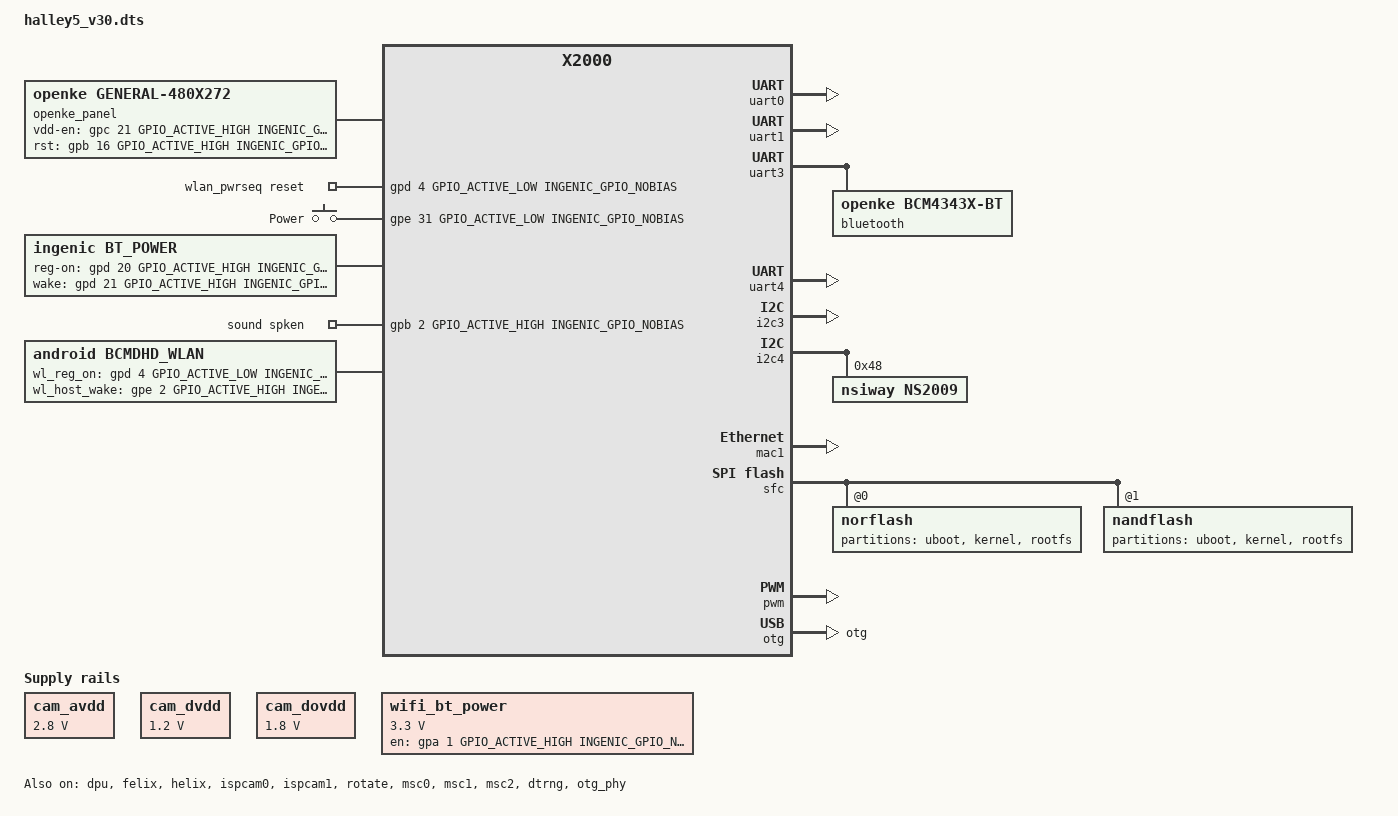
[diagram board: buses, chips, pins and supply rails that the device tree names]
/dts-v1/;

#include <dt-bindings/input/input.h>
#include "x2000.dtsi"
#include <dt-bindings/interrupt-controller/irq.h>
#include <generated/autoconf.h>

#ifdef  CONFIG_RD_X2000_HALLEY5_CAMERA_2V1
#include "halley5_cameras/RD_X2000_HALLEY5_CAMERA_2V1.dtsi"
#elif CONFIG_RD_X2000_HALLEY5_CAMERA_3V2
#ifdef CONFIG_OV4689_1080P_120FPS
#include "halley5_cameras/RD_X2000_HALLEY5_CAMERA_3V2_4LANE.dtsi"
#else
#include "halley5_cameras/RD_X2000_HALLEY5_CAMERA_3V2.dtsi"
#endif
#elif CONFIG_RD_X2000_HALLEY5_CAMERA_4V2
#include "halley5_cameras/RD_X2000_HALLEY5_CAMERA_4V2.dtsi"
#elif CONFIG_RD_X2000_HALLEY5_CAMERA_4V3
#include "halley5_cameras/RD_X2000_HALLEY5_CAMERA_4V3.dtsi"
#elif CONFIG_RD_X2000_HALLEY5_CAMERA_5V0
#include "halley5_cameras/RD_X2000_HALLEY5_CAMERA_5V0.dtsi"
#elif CONFIG_RD_X2000_HALLEY5_CAMERA_6V0
#include "halley5_cameras/RD_X2000_HALLEY5_CAMERA_6V0.dtsi"
#elif CONFIG_RD_X2000_HALLEY5_CAMERA_7V0
#include "halley5_cameras/RD_X2000_HALLEY5_CAMERA_7V0.dtsi"
#elif CONFIG_RD_X2000_HALLEY5_CAMERA_CIM
#include "halley5_cameras/RD_X2000_HALLEY5_CAMERA_cim.dtsi"
#elif CONFIG_HALLEY5_CAMERA_BOARDS_AUTO_MATCH
#include "halley5_cameras/X2000_HALLEY5_CAMERA.dtsi"
#endif

#ifdef CONFIG_STAGE_FW050
#include "halley5_lcd/HALLEY5_MIPI_LCD_FW050.dtsi"
#endif
#ifdef CONFIG_STAGE_ZC50289HSHD02
#include "halley5_lcd/HALLEY5_MIPI_LCD_ZC50289HSHD02.dtsi"
#endif

/ {
	compatible = "ingenic,halley5", "ingenic,x2000";

	/*chosen {
		bootargs = "console=ttyS1,115200 mem=128M@0x0 ip=off init=/linuxrc ubi.mtd=3 root=ubi0:rootfs ubi.mtd=4 rootfstype=ubifs rw";
	};*/

	reserved-memory {
		#address-cells = <1>;
		#size-cells = <1>;
		ranges =<>;

		reserved_memory: reserved_mem@6000000{
		      compatible = "shared-dma-pool";
		      reg-64M = <0x03000000 0x1000000>;
		      reg-128M = <0x06000000 0x2000000>;
		      reg-256M = <0x0e000000 0x2000000>;
		};
	};

		  cam_avdd: cam_regulator_avdd {
			  compatible = "regulator-fixed";
			  regulator-name = "cam_avdd";
			  regulator-min-microvolt = <2800000>;
			  regulator-max-microvolt = <2800000>;
			  regulator-always-on;
			  regulator-boot-on;
		  };
		  cam_dvdd: cam_regulator_dvdd {
			  compatible = "regulator-fixed";
			  regulator-name = "cam_dvdd";
			  regulator-min-microvolt = <1200000>;
			  regulator-max-microvolt = <1200000>;
			  regulator-always-on;
			  regulator-boot-on;
		  };
		  cam_dovdd: cam_regulator_dovdd {
			   compatible = "regulator-fixed";
			   regulator-name = "cam_dovdd";
			   regulator-min-microvolt = <1800000>;
			   regulator-max-microvolt = <1800000>;
			   regulator-always-on;
			   regulator-boot-on;
		  };

		  /* OpenKE (2026-07-22, FIRMWARE.md sec 44): 3 real GPIO-based fixes in a row
		   * (wrong pin -> wrong polarity -> pin stolen by uart4's over-wide mux group)
		   * all left "mmc1: Failed to initialize a non-removable card" byte-identical -
		   * the card never responds at all, at any frequency. Reconsidered the model
		   * itself rather than tuning gpio values further: PA01 (wifi_power_on) is a
		   * shared COMBO-CHIP POWER RAIL per stock's own insmod scripts (soc_msc.sh/
		   * cywdhd.sh - same gpio referenced by both the mmc host module AND the
		   * separate wlan chip module), not a per-card reset/wake line the way gpd4
		   * (WL_REG_ON) is. mmc-pwrseq-simple's reset-gpios models ONE reset concept
		   * toggled as a single unit with one shared delay - it can't express "this
		   * rail needs its own independent ramp-up window before the reset line even
		   * starts toggling". Modeled as its own regulator instead, wired as msc1's
		   * vmmc-supply - a real, actively-checked property in this exact driver
		   * (confirmed: ingenic,sdhci already prints "No vmmc regulator found" when
		   * absent, meaning mmc_regulator_get_supply() is real and already wired into
		   * this SDHCI-ingenic build, not hypothetical). regulator-always-on +
		   * -boot-on (same pattern already used by cam_avdd/cam_dvdd/cam_dovdd above)
		   * gets this GPIO driven to its enabled state at the regulator subsystem's
		   * own early probe, well before mmc1 ever probes - decoupled from pwrseq's
		   * post_power_on delay entirely, since a shared rail's real settling time has
		   * nothing to do with any individual card's reset sequencing. */
		  wifi_bt_power: wifi_bt_power_regulator {
			   compatible = "regulator-fixed";
			   regulator-name = "wifi_bt_power";
			   regulator-min-microvolt = <3300000>;
			   regulator-max-microvolt = <3300000>;
			   gpio = <&gpa 1 GPIO_ACTIVE_HIGH INGENIC_GPIO_NOBIAS>;
			   enable-active-high;
			   regulator-always-on;
			   regulator-boot-on;
		  };
};

&uart0 {
	status = "okay";
	pinctrl-names = "default";
	pinctrl-0 = <&uart0_pd>;
};

/* OpenKE (2026-07-21, FIRMWARE.md sec 43): real, confirmed gap - this board file never
 * referenced &uart1 at all, unlike every other uart actually in use here. Klipper's own
 * printer.cfg confirms /dev/ttyS1 is the real serial link to the printer's mainboard MCU
 * ([mcu] serial:/dev/ttyS1, vendor/device-backups/printer_data_config/printer.cfg) - the
 * base x2000.dtsi leaves uart1 with no explicit status property at all (defaults to
 * enabled per devicetree spec), but without this pinctrl assignment the physical TX/RX
 * pins were never actually muxed to the UART1 function, only the controller itself being
 * nominally "on". Only one real pin group exists for this uart (unlike uart3's 2-pin/
 * 4-pin choice) - x2000-pinctrl.dtsi's uart1_pc, gpc 21-24. Never tested against real
 * mainboard hardware yet (needs the mainboard physically reconnected) - this fixes the
 * one thing confirmable from source alone (the missing pin wiring); whether the actual
 * MCU handshake succeeds still needs a real connected test. */
&uart1 {
	status = "okay";
	pinctrl-names = "default";
	pinctrl-0 = <&uart1_pc>;
};

&uart2 {
	status = "disable";
};

&uart3 {
	status = "okay";
	pinctrl-names = "default";
	pinctrl-0 = <&uart3_pc>;

	/* Real Ender 3 V3 KE hardware: BCM4343A1 WiFi+BT combo chip's BT side,
	 * confirmed live on /dev/ttyS3 via Creality's own bt_enable_bsa.sh
	 * (see FIRMWARE.md). uart3_pc is a 2-pin (TX/RX only) pinmux group -
	 * this board has no hardware RTS/CTS wired for this UART, confirmed
	 * against x2000-v12-pinctrl.dtsi's uart3_pd (4-pin) alternative not
	 * being used here - the real reason Creality used H5 instead of H4,
	 * and why this node uses our own openke,bcm4343x-bt H5 vendor glue
	 * (drivers/bluetooth/hci_h5.c) rather than the H4-only upstream
	 * Broadcom path. No enable-gpios property: no dedicated BT reset/
	 * enable pin has been confirmed live (only the shared WiFi-side
	 * regulator/reset in &msc1's wlan_pwrseq below is confirmed) - the
	 * driver treats this as optional and skips GPIO toggling if absent. */
	bluetooth {
		compatible = "openke,bcm4343x-bt";
	};
};

/* Console UART. Had no override at all before 2026-07-20 - uart4 defaults to
 * status="disabled" in x2000.dtsi, meaning console=ttyS4 in the kernel cmdline
 * would have produced zero output on real hardware. pinctrl-0 confirmed
 * against the real device's own live device tree (pulled via
 * /sys/firmware/fdt, decompiled with dtc) - the stock board's uart4 uses
 * pinctrl group uart4-pa, physical pins PA2/PA3. This tree's own uart4_pa
 * (gpa 0-3) is a superset covering the same two pins, so no new pinctrl node
 * was needed, just this missing board-level override. */
&uart4 {
	status = "okay";
	pinctrl-names = "default";
	pinctrl-0 = <&uart4_pa>;
};

&cpufreq {
	status = "okay";
	operating-points = <
		/*KHZ uV */
		1200000	900000
		750000	900000
		600000	900000
		500000	900000
		400000	900000
		375000	900000
		300000	900000
		200000	900000
			>;

};
/**pm faseboot use**/
/*
&pm {
	status = "disable";

	console_idx = <3>;
	mcu_uart_idx = <8>;
	mcu_uart_baud = <9600>;

	pinctrl-names ="mcu_uart8";
	pinctrl-0 = <&uart8_pb>;
};
*/

/* Real, safety-relevant fix (found while answering a hardware question about
 * connecting to the J1 UART header, 2026-07-20): this was GPIO_VOLTAGE_1V8,
 * but the real device's own live device tree (pulled via /sys/firmware/fdt
 * earlier this project) shows Port A is actually provisioned for 3.3V
 * (ingenic,gpa_voltage = <0x02> = GPIO_VOLTAGE_3V3, decoded from the real
 * enum in ingenic-gpio.h). A voltage-domain mismatch on this bank is a
 * plausible (not confirmed) contributor to the first real boot attempt's
 * early failure - independent of that, it's simply wrong for the real
 * hardware and needed fixing regardless. */
&pinctrl {
	ingenic,gpa_voltage = <GPIO_VOLTAGE_3V3>;
};

&i2c3 {
	status = "okay";
};

&i2c4 {
	/* Real Ender 3 V3 KE hardware: NS2009 resistive touch controller lives here
	 * (confirmed live via /sys/bus/i2c/devices/4-0048/name on the real printer).
	 * The reference v30 board disables this bus; our board customization needs it. */
	status = "okay";
	/* OpenKE (2026-07-20, FIRMWARE.md sec 32): pinctrl-0 was missing entirely here - the
	 * base x2000.dtsi's own i2c4 node has none either, and this override never added one.
	 * Found by pulling and decoding the real stock device's own live /sys/firmware/fdt: its
	 * i2c4 node references a real "i2c4-pc" pinmux group - which already exists in our own
	 * x2000-pinctrl.dtsi as i2c4_pc, just never wired up. Without this, the bus may not
	 * actually be muxed to the real physical pins at all - same class of bug as msc0 above. */
	pinctrl-names = "default";
	pinctrl-0 = <&i2c4_pc>;

	ns2009@48 {
		compatible = "nsiway,ns2009";
		reg = <0x48>;
	};
};

/* Real Ender 3 V3 KE display (480x272, confirmed live via
 * /sys/class/graphics/fb0/modes on the real printer) - see
 * displays/panel-openke-general-480x272.c for the panel driver and the real
 * caveats (timing values are a best-effort default, not read from a datasheet
 * for this exact panel). The reference board doesn't wire up a plain-RGB panel
 * at all by default (only the MIPI examples above are ever #include'd). */
&dpu {
	status = "okay";
};

/ {
	openke_panel: openke_panel {
		compatible = "openke,general-480x272";
		/* GPIO roles + pin numbers confirmed live on the real device via
		 * /sys/module/lcd_general_480x272/parameters/{gpio_lcd_power_en,gpio_lcd_rst}
		 * (PC21, PB16). Polarity NOT confirmed - GPIO_ACTIVE_HIGH is a guess,
		 * easy to flip here without a rebuild if the panel powers up inverted. */
		ingenic,vdd-en-gpio = <&gpc 21 GPIO_ACTIVE_HIGH INGENIC_GPIO_NOBIAS>;
		ingenic,rst-gpio = <&gpb 16 GPIO_ACTIVE_HIGH INGENIC_GPIO_NOBIAS>;
	};
};


&felix {
	status = "okay";
	memory-region=<&reserved_memory>;
};

&helix {
	status = "okay";
	memory-region=<&reserved_memory>;
};

&ispcam0 {
	status = "okay";
	memory-region=<&reserved_memory>;
};

&ispcam1 {
	status = "okay";
	memory-region=<&reserved_memory>;
};

&rotate {
	status = "okay";
	memory-region=<&reserved_memory>;
};

&pdma {
	status = "okay";
};

&msc0 {
	/* OpenKE (2026-07-20, FIRMWARE.md sec 31/32): this is the real eMMC - confirmed by pulling
	 * the actual live stock device's own /sys/firmware/fdt and decoding it with dtc. Stock has
	 * this exact node (0x13450000) status="okay", 8-bit bus, mmc-hs200-1_8v, 100MHz,
	 * non-removable - while msc1 (WiFi/SDIO) and msc2 (SD slot) are BOTH disabled on stock's own
	 * DTB. This board file had it backwards: msc0 disabled (as a 4-bit, no-pinctrl template) while
	 * msc2 (actually the SD card slot - has cd-gpio/wp-gpio/sd-uhs-sdr104, all SD-slot-only
	 * properties) was left enabled instead. This is why the real xImage boot test (sec 31) got
	 * all the way into userspace init but then hung forever at "Waiting for root device
	 * /dev/mmcblk0p8..." - msc2's controller registered fine (it's a real, working SDHCI
	 * instance) but had no eMMC card to attach, since the actual storage sits on msc0, which was
	 * never even probed. pinctrl-0 = <&msc0_8bit> (real phandle, resolved from the live DTB's own
	 * pinctrl-0 = <0x13>) was also completely missing before - msc1/msc2 both had one, msc0 had
	 * none at all.
	 */
	status = "okay";
	pinctrl-names = "default";
	pinctrl-0 = <&msc0_8bit>;
	mmc-hs200-1_8v;
	cap-mmc-highspeed;
	non-removable;
	max-frequency = <100000000>;
	bus-width = <8>;
	voltage-ranges = <1800 3300>;

	/* special property */
	ingenic,wp-gpios = <0>;
	ingenic,cd-gpios = <0>;
	ingenic,rst-gpios = <0>;
};

&msc1 {
	status = "okay";
	/* OpenKE (2026-07-22, FIRMWARE.md sec 52): reverted back to the base "ingenic,sdhci"
	 * compatible (sdhci-ingenic.c) - sec 47's "wrong driver entirely" finding was itself
	 * wrong. Disassembled the real, live, WORKING soc_msc.ko off the stock device (not
	 * just cywdhd.ko this time) and its own symbol table proves stock's msc1 driver IS
	 * sdhci-ingenic.c: real sdhci_ingenic_probe/sdhci_ingenic_set_clock/
	 * sdhci_ingenic_power_set symbols, calling genuine sdhci_add_host()/sdhci_reset(),
	 * PLUS real exported jzmmc_clk_ctrl/jzmmc_manual_detect symbols - proving this
	 * driver family DOES support manual detection on stock, contrary to the sec 47
	 * assumption. Confirmed our own sdhci-ingenic.c already has the matching
	 * architecture: cd_type==SDHCI_INGENIC_CD_PERMANENT (from the "non-removable"
	 * property below) sets MMC_CAP_NONREMOVABLE + SDHCI_QUIRK_BROKEN_CARD_DETECTION at
	 * probe time, and sdhci_ingenic_mmc_manual_detect() (renamed from
	 * ingenic_mmc_manual_detect in sec 47, exported, in manual_list unconditionally)
	 * flips SDHCI_DEVICE_DEAD and calls mmc_detect_change() - the real, same mechanism
	 * stock uses. ingenic_mmc.c (sec 47-51's whole investigation) was never stock's
	 * actual msc1 driver at all - it's a different, unrelated Ingenic MSC-register-model
	 * driver that happens to also export functions named jzmmc_manual_detect/
	 * jzmmc_clk_ctrl, which is what caused the original misdirection once cywdhd.ko's
	 * disassembly turned up those two names. */
	compatible = "ingenic,sdhci";
	/* OpenKE (2026-07-22, FIRMWARE.md sec 44): 4 real fixes to the reset/power gpios
	 * (wrong pin, wrong polarity, pin stolen by uart4's mux group, wrong power model)
	 * all left "mmc1: Failed to initialize a non-removable card" byte-identical -
	 * confirmed via a decompiled build-output .dtb that every one of those fixes DID
	 * compile in correctly, so the bug was never "did the change apply", something
	 * else was still missing. rtc32k_enable/rtc32k_disable (x2000-pinctrl.dtsi) mux
	 * gpe23 to either its real clock-output function (PINCTL_FUNCTION0) or a forced
	 * GPIO-low state (PINCTL_FUNCLOLVL) - a real, physical 32kHz reference clock
	 * pin, almost certainly shared with the WiFi/BT combo chip's own sleep clock
	 * (the vendor's own out-of-tree ingenic_sdio.c has a whole rtc32k_enable()/
	 * atomic-refcounted mechanism built around this exact pin, called specifically
	 * from its wlan power-on path - a real, physical precondition, not incidental).
	 * "default" (pinctrl-0, auto-selected by the driver core with zero driver code
	 * needed, before sdhci-ingenic's own probe() even runs) had rtc32k_disable
	 * bundled into it - the clock was being forced OFF automatically at every boot,
	 * and nothing in this build's mainline brcmfmac path (unlike the vendor's own
	 * bcmdhd path we deliberately don't use) ever selects the "enable" state
	 * instead. If the chip genuinely needs this clock running to respond to
	 * anything at all, this alone would explain zero response regardless of every
	 * reset/power gpio being individually correct. */
	/* OpenKE (2026-07-22, FIRMWARE.md sec 48): pinctrl-0 above used to also include
	 * <&rtc32k_enable> (sec 45's fix for the "clock forced off at boot" theory) - but
	 * stock's own real reference devicetree (vendor/x2000_kernel, the genuine 4.94 SDK
	 * source stock was actually built from, as opposed to guessing) has pinctrl-0 =
	 * <&msc1_4bit> ONLY, with rtc32k_enable/disable used exclusively via the dynamic
	 * pinctrl-1/pinctrl-2 states, switched at runtime by actual rtc32k_enable()/
	 * rtc32k_disable() function calls, never forced into the default/boot state. Real,
	 * source-verified divergence, not a guess - reverted to match. sd-uhs-sdr104 and the
	 * two "special property" ingenic,*-gpios placeholders below are also copied verbatim
	 * from that same real reference node for exact fidelity. */
	pinctrl-names ="default","enable", "disable";
	pinctrl-0 = <&msc1_4bit>;
	pinctrl-1 = <&rtc32k_enable>;
	pinctrl-2 = <&rtc32k_disable>;

	sd-uhs-sdr104;
	cap-mmc-highspeed;
	max-frequency = <100000000>;
	bus-width = <4>;
	voltage-ranges = <1800 3300>;
	non-removable;
	vmmc-supply = <&wifi_bt_power>;

	ingenic,sdio_clk = <1>;
	keep-power-in-suspend;
	ingenic,sdr-gpios = <0>;
	ingenic,rst-gpios = <0>;
	ingenic,removal-manual;

	/* OpenKE (2026-07-21, FIRMWARE.md sec 44): gpd 1 / gpd 0 below were WRONG - not a
	 * guess, a confirmed hardware fact. Extracted stock's own out-of-tree module-loading
	 * scripts (module_driver/soc_msc.sh, cywdhd.sh) from a real full-disk backup
	 * (nebula_system_backup.bin's rootfs partition) and read the vendor's own insmod
	 * parameters verbatim: wifi_reg_on=PD04 (port D pin 4, NOT pin 1), and
	 * gpio_wlan_wake_host=PE02 (port E pin 2) - independently cross-confirmed against
	 * this exact board's own stock-boot-reference-log.txt line
	 * "[clooney]dhd_init_gpio_wlan_hostwake: WL_HOST_WAKE=130" (port E is the 5th gpio
	 * chip, index 4: 4*32+2 = 130, exact match). There is also a THIRD gpio these scripts
	 * reference that had no equivalent anywhere in this file at all: wifi_power_on /
	 * gpio_bt_wifi_power = PA01 (port A pin 1), a separate shared power-rail enable for
	 * the combo chip.
	 *
	 * OpenKE (2026-07-22): pin numbers alone (real-hardware tested) did NOT fix WiFi -
	 * identical "Failed to initialize a non-removable card" persisted. Root cause: the
	 * active-flag polarity below was backwards. Traced drivers/mmc/core/pwrseq_simple.c's
	 * actual logical sequence: pre_power_on() sets the gpio array to logical 1 (asserted/
	 * held-off), post_power_on() sets logical 0 (released) THEN sleeps - the chip is
	 * expected to be truly enabled at logical-0, since that's the state held throughout
	 * actual SDIO enumeration. GPIO_ACTIVE_HIGH means logical value == physical level
	 * (no inversion); GPIO_ACTIVE_LOW inverts. The vendor's own insmod params give the
	 * real enable level per pin - or so this reasoning assumed from the module
	 * parameter *names* alone, without ever disassembling the real driver to check.
	 *
	 * OpenKE (2026-07-22, FIRMWARE.md sec 50): that assumption was wrong. Disassembling
	 * stock's actual, live cywdhd.ko (bcm_wlan_power_on()/bcm_wlan_power_off()) shows
	 * the real instruction sequence writes raw GPIO value 1 (physical HIGH) as the
	 * enabled state on gpd 4/WL_REG_ON, and raw 0 (LOW) as held/reset - the opposite of
	 * what "wifi_reg_on_level=0" was assumed to mean here. gpd 4 below is fixed to
	 * GPIO_ACTIVE_LOW (so post_power_on's logical-0 release lands on the real,
	 * disassembly-proven physical-HIGH enabled state) - see the reset-gpios comment
	 * for the full trace. */
	mmc-pwrseq = <&wlan_pwrseq>;

	bcmdhd_wlan: bcmdhd_wlan {
		 compatible = "android,bcmdhd_wlan";
		 gpio_wl_reg_on = <&gpd 4 GPIO_ACTIVE_LOW INGENIC_GPIO_NOBIAS>;
		 gpio_wl_host_wake = <&gpe 2 GPIO_ACTIVE_HIGH INGENIC_GPIO_NOBIAS>;
	};
};

/ {
	wlan_pwrseq: wlan_pwrseq {
		compatible = "mmc-pwrseq-simple";
		/* OpenKE (2026-07-21, FIRMWARE.md sec 40): missing 3rd cell - this SoC's gpio
		 * controller binding is #gpio-cells = <3> (pin, active flag, ingenic bias flag,
		 * matching every other &gpd/&gpc/etc reference in this file), but this line only
		 * ever had 2, causing a real, confirmed "OF: /wlan_pwrseq: #gpio-cells = 3 found 2"
		 * kernel warning at boot. Fixed (gone on re-test), but that was never the actual
		 * blocker - see the sec 44 comment above &msc1's mmc-pwrseq line: gpd 1 wasn't
		 * even the right pin (real pin per stock's own insmod scripts: gpd 4/PD04,
		 * WL_REG_ON). Two more real-hardware-tested attempts after that - active-flag
		 * polarity (GPIO_ACTIVE_HIGH here so logical-0/post_power_on lands on the
		 * vendor's real physical-LOW enable level, wifi_reg_on_level=0) - both left the
		 * symptom byte-identical.
		 *
		 * OpenKE (2026-07-22): gpa 1 (PA01, the combo chip's SHARED power rail) used
		 * to be toggled together with gpd 4 in this same array - moved out entirely,
		 * now modeled as its own regulator-fixed (wifi_bt_power, near the cam_*vdd
		 * regulators earlier in this file) wired as &msc1's vmmc-supply instead. A
		 * shared rail's real settling time has nothing to do with any one card's
		 * reset sequencing, and this array can only express one shared-delay concept
		 * for every gpio in it together - it can't stage "rail up first, with its own
		 * real ramp-up window, THEN toggle reset". */
		/* OpenKE (2026-07-22, FIRMWARE.md sec 48): stock's real reference devicetree
		 * (vendor/x2000_kernel, genuine 4.94 SDK source) has a SEPARATE, dedicated combo-
		 * chip reset line in its msc1 node - "ingenic,sdio-reset = <&gpd 1
		 * GPIO_ACTIVE_LOW ...>" - distinct from WL_REG_ON (gpd 4, the power-enable pin
		 * already modeled below, real per the insmod-script extraction in sec 44). That
		 * generic vendor SDK property is what motivated adding gpd 1 here as a real,
		 * hardware-tested guess.
		 *
		 * OpenKE (2026-07-22, FIRMWARE.md sec 50): disassembling stock's actual, live
		 * cywdhd.ko (not the generic vendor reference tree) settles this - both
		 * bcm_wlan_power_on() and bcm_wlan_power_off() touch exactly one GPIO
		 * (wlan_reg_on/gpd 4, via gpio_to_desc()+gpiod_set_raw_value()), never a second
		 * pin. gpd 1 is never read or toggled by the real, running driver on this board
		 * at all - removed, matching stock's real, disassembly-confirmed single-GPIO
		 * behavior exactly rather than a generic-SDK guess.
		 *
		 * The same disassembly also settles gpd 4's actual polarity, which the sec 40/44
		 * comments above got backwards from an unverified reading of the
		 * wifi_reg_on_level=0 module parameter name: bcm_wlan_power_on(1)'s real
		 * instruction sequence is gpiod_set_raw_value(wlan_reg_on, 0) -> msleep(100) ->
		 * gpiod_set_raw_value(wlan_reg_on, 1) -> jzmmc_manual_detect() immediately after -
		 * i.e. raw LOW is the held/reset state and raw HIGH is the enabled state
		 * (confirmed symmetric: bcm_wlan_power_off() also ends by driving raw 0).
		 * GPIO_ACTIVE_HIGH here made mmc_pwrseq_simple's post_power_on() (de-assert,
		 * logical 0) land on raw LOW - the opposite of stock's real enabled state -
		 * meaning WL_REG_ON was being left de-asserted (chip never actually powered on)
		 * every time detection ran, fully consistent with the paired trace in sec 49
		 * showing SDHCI_RESPONSE_0 never changes on custom: the SDHCI controller was
		 * issuing real commands at a chip that was never actually powered on to answer
		 * them. Fixed to GPIO_ACTIVE_LOW so post_power_on's logical-0 de-assert lands on
		 * the real, disassembly-proven raw-HIGH enabled state. */
		reset-gpios = <&gpd 4 GPIO_ACTIVE_LOW INGENIC_GPIO_NOBIAS>;
		/* OpenKE (2026-07-21, FIRMWARE.md sec 40): the gpio-cells fix above is real and
		 * confirmed (the kernel warning is gone on a live re-test). 200ms is a
		 * generously safe stabilization delay for this chip class (real, common
		 * failure mode for WiFi/BT combo chips that need time to boot before
		 * responding to SDIO commands), applied after post_power_on releases reset. */
		post-power-on-delay-ms = <200>;
	};
};

&msc2 {
	status = "okay";
	pinctrl-names ="default";
	pinctrl-0 = <&msc2_4bit>;
	sd-uhs-sdr104;
	/*cap-mmc-highspeed;*/
	max-frequency = <200000000>;
	bus-width = <4>;
	voltage-ranges = <1800 3300>;

	/* special property */
	cd-gpio = <&gpc 12 GPIO_ACTIVE_LOW INGENIC_GPIO_NOBIAS>;
	wp-gpio = <0>;
	ingenic,sdr-gpio = <&gpc 0 GPIO_ACTIVE_HIGH INGENIC_GPIO_NOBIAS>;
	ingenic,rst-gpio = <0>;
};

&nemc {
	status = "disable";
	pinctrl-names = "default";
	pinctrl-0 =<&nemc_pb>, <&nemc_pc>;
};


&mac1 {
	pinctrl-names = "default", "reset";
	pinctrl-0 = <&mac1_rgmii_p0_normal>, <&mac1_rgmii_p1_normal>;
	pinctrl-1 = <&mac1_rgmii_p0_rst>, <&mac1_rgmii_p1_normal>;
	status = "okay";
	ingenic,rst-gpio = <&gpb 16 GPIO_ACTIVE_LOW INGENIC_GPIO_NOBIAS>;
	ingenic,rst-ms = <10>;
	ingenic,rst-delay-ms = <15>;
	ingenic,mac-mode = <RGMII>;
	ingenic,mode-reg = <0xb00000e8>;
	ingenic,rx-clk-delay = <0x0>;
	ingenic,tx-clk-delay = <0x3f>;
	/*force mac mode*/
	/*
	ingenic,mac-force = <MAC_ON>;
	ingenic,mac-autoneg = <MAC_ON>;
	ingenic,mac-speed = <MAC_SPEED_1000M>;
	ingenic,mac-duplex = <MAC_DUPLEX_HALF>;
	ingenic,no_phy_connect;
	*/
};

&sfc {
	status = "okay";
	pinctrl-names = "default";
	pinctrl-0 = <&sfc_pe>;
	ingenic,sfc-init-frequency = <200000000>;
	ingenic,sfc-max-frequency = <400000000>;
	ingenic,use_ofpart_info  = /bits/ 8 <0>;
	ingenic,spiflash_param_offset = <0>;

	norflash@0 {
		partitions {
			compatible = "fixed-partitions";
			#address-cells = <1>;
			#size-cells = <1>;

			/* spi nor flash partition */
			uboot@0 {
				label = "uboot";
				reg = <0x0000000 0x40000>;
				/*read-only;*/
			};

			kernel@40000 {
				label = "kernel";
				reg = <0x40000 0x300000>;
			};

			rootfs@360000 {
				label = "rootfs";
				reg = <0x360000 0xca0000>;
			};
		};
	};

	nandflash@1 {
		partitions {
			compatible = "fixed-partitions";
			#address-cells = <1>;
			#size-cells = <1>;

			/* spi nand flash partition */
			partition@0 {
				label = "uboot";
				reg = <0x0000000 0x100000>;
				/*read-only;*/
			};

			partition@100000 {
				label = "kernel";
				reg = <0x100000 0x800000>;
			};

			partition@900000 {
				label = "rootfs";
				reg = <0x900000 0xf700000>;
			};
		};
	};

};

&spi0 {
	status = "disable";
	pinctrl-names = "default";
	pinctrl-0 = <&spi0_pb>;

	spi-max-frequency = <54000000>;
	num-cs = <2>;
	cs-gpios = <0>, <0>;
	/*cs-gpios = <&gpa 27 GPIO_ACTIVE_HIGH INGENIC_GPIO_NOBIAS>, <&gpa 27 GPIO_ACTIVE_HIGH INGENIC_GPIO_NOBIAS>;*/
	ingenic,chnl = <0>;
	ingenic,allow_cs_same = <1>;
	ingenic,bus_num = <0>;
	ingenic,has_dma_support = <0>;
	ingenic,spi-src-clk = <1>;/*0.ext; 1.ssi*/

	/* Add SPI interface device */
	spidev: spidev@0 {
		compatible = "rohm,dh2228fv";
		reg = <0>;
		spi-max-frequency = <10000000>;
	};
};

&dtrng {
	status = "okay";
};

&pwm {
	status = "okay";
	pinctrl-names = "default";
	pinctrl-0 = <&pwm1_pc>;
};

&otg {
	dr_mode = "otg";
	device-using-dma = <1>;
	status = "okay";
};

&otg_phy {
	status = "okay";
	/*ingenic,id-dete-gpio = <&gpd 18 GPIO_ACTIVE_LOW INGENIC_GPIO_NOBIAS>; Shares pins with msc1*/
	ingenic,vbus-dete-gpio = <&gpd 17 GPIO_ACTIVE_LOW INGENIC_GPIO_NOBIAS>;
	/* OpenKE (2026-07-21, FIRMWARE.md sec 42): wrong pin - real, live-confirmed via stock's
	 * own decompiled DTB (vendor/device-backups/stock-live-device-tree.dtb): stock's real,
	 * working drvvbus-gpio is gpc pin 9 (raw value <0x07 0x09 0x01 0x00>, phandle 0x07 = gpc
	 * confirmed against stock's own gpio-bank phandle table), not gpe pin 22. Both our tree
	 * and stock's use the exact same driver here (compatible "ingenic,usbphy-x2000" /
	 * "ingenic,x2000-dwc2-hsotg" match on both sides, confirmed via stock's own live dmesg
	 * showing serial number "13500000.otg_new" - same modern driver, just not suffixed here
	 * since this tree only ever has the one variant) - this was never a "wrong driver"
	 * problem, just the wrong physical pin on the right node the whole time. */
	ingenic,drvvbus-gpio = <&gpc 9 GPIO_ACTIVE_HIGH INGENIC_GPIO_NOBIAS>;
};

&as_be_baic {
	pinctrl-names = "default";
	pinctrl-0 =  <&baic4_pd>;
};

/* OpenKE (2026-07-21, FIRMWARE.md sec 43): disabled - real, confirmed pin conflict with
 * uart1 (gpc 21, part of uart1_pc's 4-pin group, needed for the real mainboard MCU link -
 * "pin GPC-21 already requested by 134da000.as-dmic; cannot claim for 10031000.serial" on a
 * real boot). This override had zero justification/verification comment, unlike everything
 * else in this file - a 4-channel digital-mic array is a common reference-board demo
 * feature, and this printer's confirmed real audio path is the speaker/codec (icodec,
 * "x2000-sound sound: Sound Card successed"), not a mic array. Same class of bug as
 * BCMDHD/GT9XX/the camera ISP pipeline/the second MIPI panel found earlier this session -
 * enabled without ever being confirmed against real hardware, this time actively blocking
 * something that IS confirmed real and needed. */
&as_dmic {
	status = "disabled";
};

&icodec {
	ingenic,spken-gpio = <&gpb 2 GPIO_ACTIVE_HIGH INGENIC_GPIO_NOBIAS>;
};

/ {

	extclk: extclk {
		clock-frequency = <24000000>;
	};

	gpio_keys: gpio_keys {
		   compatible = "gpio-keys";

		   power {
			   label = "Power";
			   linux,code = <KEY_POWER>;
			   gpios = <&gpe 31 GPIO_ACTIVE_LOW INGENIC_GPIO_NOBIAS>;
			   gpio-key,wakeup;
		   };
	   };

	/*
	 * gpd 21 bt wakeup host
	 * gpd 22 host wakeup bt
	 */
	bt_power {
		compatible = "ingenic,bt_power";
		ingenic,reg-on-gpio = <&gpd 20 GPIO_ACTIVE_HIGH INGENIC_GPIO_NOBIAS>;
		ingenic,wake-gpio = <&gpd 21 GPIO_ACTIVE_HIGH INGENIC_GPIO_NOBIAS>;
	};

	sound {
		compatible = "ingenic,x2000-sound";
		ingenic,model = "halley5_v30";
		ingenic,spken-gpio = <&gpb 2 GPIO_ACTIVE_HIGH INGENIC_GPIO_NOBIAS>;
	};

	spi_gpio {
		status = "disable";
		compatible = "spi-gpio";
		#address-cells = <1>;
		#size-cells = <0>;

		gpio-sck = <&gpb 28 GPIO_ACTIVE_LOW INGENIC_GPIO_NOBIAS>;
		gpio-miso = <&gpb 29 GPIO_ACTIVE_LOW INGENIC_GPIO_NOBIAS>;
		gpio-mosi = <&gpb 30 GPIO_ACTIVE_LOW INGENIC_GPIO_NOBIAS>;
		cs-gpios = <&gpb 31 GPIO_ACTIVE_LOW INGENIC_GPIO_NOBIAS>;
		num-chipselects = <1>;

		/* clients */
		spidev1: spidev1@0 {
			status = "disable";
			compatible = "rohm,dh2228fv";
			reg = <0>;
			spi-max-frequency = <500000>;
		};
	};
};


/* Board Sleep GPIO configuration. */
/* <0 1 2 3 .... 31>, set one of the pin to state.*/
&gpa {
	ingenic,gpio-sleep-pullup 	= <>;
	ingenic,gpio-sleep-pulldown 	= <>;
	ingenic,gpio-sleep-hiz		= <>;
	ingenic,gpio-sleep-low		= <>;
	ingenic,gpio-sleep-high		= <>;
	ingenic,gpio-sleep-func0    = <>;
	ingenic,gpio-sleep-func1    = <>;
	ingenic,gpio-sleep-func2    = <>;
	ingenic,gpio-sleep-func3    = <>;
};

&gpb {
	ingenic,gpio-sleep-pullup 	= <>;
	ingenic,gpio-sleep-pulldown 	= <>;
	ingenic,gpio-sleep-hiz		= <>;
	ingenic,gpio-sleep-low		= <>;
	ingenic,gpio-sleep-high		= <>;
	ingenic,gpio-sleep-func0    = <>;
	ingenic,gpio-sleep-func1    = <>;
	ingenic,gpio-sleep-func2    = <>;
	ingenic,gpio-sleep-func3    = <>;
};

&gpc {
	ingenic,gpio-sleep-pullup 	= <>;
	ingenic,gpio-sleep-pulldown 	= <>;
	ingenic,gpio-sleep-hiz		= <>;
	ingenic,gpio-sleep-low		= <>;
	ingenic,gpio-sleep-high		= <>;
	ingenic,gpio-sleep-func0    = <>;
	ingenic,gpio-sleep-func1    = <>;
	ingenic,gpio-sleep-func2    = <>;
	ingenic,gpio-sleep-func3    = <>;
};

&gpd {
	ingenic,gpio-sleep-pullup 	= <>;
	ingenic,gpio-sleep-pulldown 	= <>;
	ingenic,gpio-sleep-hiz		= <>;
	ingenic,gpio-sleep-low		= <>;
	ingenic,gpio-sleep-high		= <>;
	ingenic,gpio-sleep-func0    = <>;
	ingenic,gpio-sleep-func1    = <>;
	ingenic,gpio-sleep-func2    = <>;
	ingenic,gpio-sleep-func3    = <>;
};
